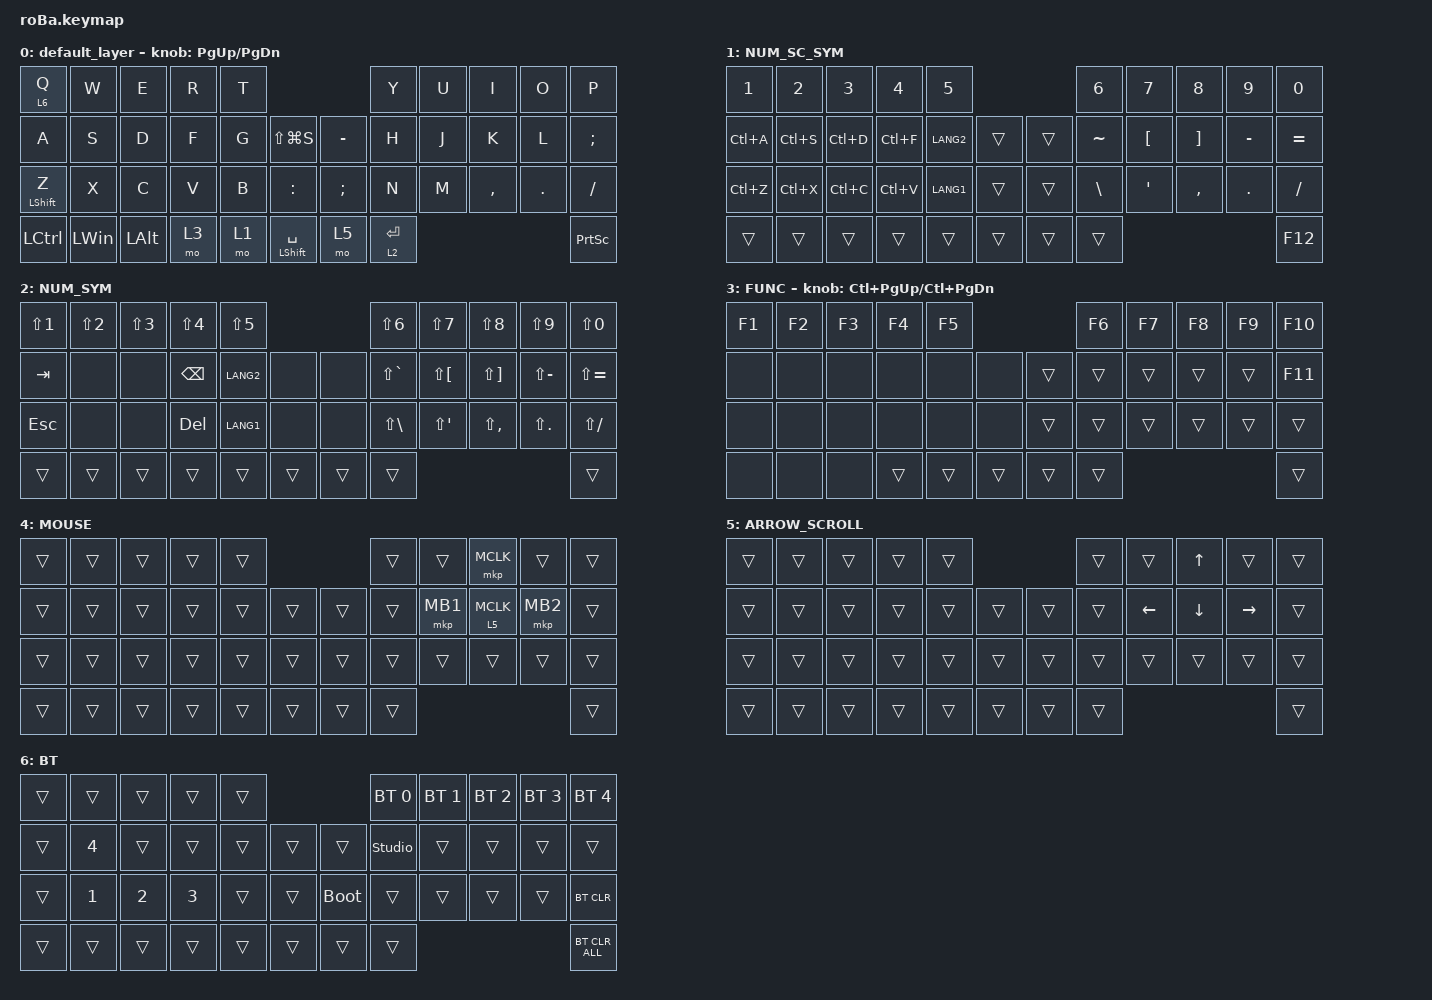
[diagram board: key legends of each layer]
#include <behaviors.dtsi>
#include <dt-bindings/zmk/bt.h>
#include <dt-bindings/zmk/keys.h>
#include <dt-bindings/zmk/pointing.h>

&mt {
    flavor = "balanced";
    quick-tap-ms = <0>;
    tapping-term-ms = <150>; // This is the value already set by default
};

/ {
    combos {
        compatible = "zmk,combos";

        tab {
            bindings = <&kp TAB>;
            key-positions = <11 12>;
        };

        shift_tab {
            bindings = <&kp LS(TAB)>;
            key-positions = <12 13>;
        };

        muhennkann {
            bindings = <&to_layer_0 INT_MUHENKAN>;
            key-positions = <11 10>;
        };

        double_quotation {
            bindings = <&kp DOUBLE_QUOTES>;
            key-positions = <20 21>;
        };

        eq {
            bindings = <&kp EQUAL>;
            key-positions = <24 25>;
        };
    };

    macros {
        to_layer_0: to_layer_0 {
            compatible = "zmk,behavior-macro-one-param";
            #binding-cells = <1>;
            bindings = <&to 0 &macro_param_1to1 &kp MACRO_PLACEHOLDER>;
            label = "TO_LAYER_0";
        };
    };

    behaviors {
        lt_to_layer_0: lt_to_layer_0 {
            compatible = "zmk,behavior-hold-tap";
            label = "LAYER_TAP_TO_0";
            bindings = <&mo>, <&to_layer_0>;

            #binding-cells = <2>;
            tapping-term-ms = <150>;
        };

        lay_mou: layer_mouse_tap {
            compatible = "zmk,behavior-hold-tap";
            label = "LAYER_MOUSE_TAP";
            #binding-cells = <2>;
            flavor = "tap-preferred";
            tapping-term-ms = <150>;
            bindings = <&mo>, <&mkp>;
        };
    };

    keymap {
        compatible = "zmk,keymap";

        default_layer {
            bindings = <
&lt 6 Q           &kp W         &kp E         &kp R  &kp T                                           &kp Y        &kp U  &kp I      &kp O    &kp P
&kp A             &kp S         &kp D         &kp F  &kp G  &kp LS(LG(S))             &kp MINUS      &kp H        &kp J  &kp K      &kp L    &kp SEMICOLON
&mt LEFT_SHIFT Z  &kp X         &kp C         &kp V  &kp B  &kp COLON                 &kp SEMICOLON  &kp N        &kp M  &kp COMMA  &kp DOT  &kp SLASH
&kp LCTRL         &kp LEFT_WIN  &kp LEFT_ALT  &mo 3  &mo 1  &mt LEFT_SHIFT SPACE      &mo 5          &lt 2 ENTER                             &kp PRINTSCREEN
            >;

            sensor-bindings = <&inc_dec_kp PG_UP PAGE_DOWN>;
        };

        NUM_SC_SYM {
            bindings = <
&kp NUMBER_1  &kp NUMBER_2  &kp NUMBER_3  &kp NUMBER_4  &kp NUMBER_5                      &kp NUMBER_6   &kp NUMBER_7      &kp NUMBER_8       &kp NUMBER_9  &kp NUMBER_0
&kp LC(A)     &kp LC(S)     &kp LC(D)     &kp LC(F)     &kp LANG2     &trans      &trans  &kp TILDE      &kp LEFT_BRACKET  &kp RIGHT_BRACKET  &kp MINUS     &kp EQUAL
&kp LC(Z)     &kp LC(X)     &kp LC(C)     &kp LC(V)     &kp LANG1     &trans      &trans  &kp BACKSLASH  &kp SQT           &kp COMMA          &kp PERIOD    &kp SLASH
&trans        &trans        &trans        &trans        &trans        &trans      &trans  &trans                                                            &kp F12
            >;
        };

        NUM_SYM {
            bindings = <
&kp LS(NUMBER_1)  &kp LS(NUMBER_2)  &kp LS(NUMBER_3)  &kp LS(NUMBER_4)  &kp LS(NUMBER_5)                      &kp LS(NUMBER_6)   &kp LS(NUMBER_7)      &kp LS(NUMBER_8)       &kp LS(NUMBER_9)  &kp LS(NUMBER_0)
&kp TAB           &none             &none             &kp BACKSPACE     &kp LANG2         &none       &none   &kp LS(GRAVE)      &kp LS(LEFT_BRACKET)  &kp LS(RIGHT_BRACKET)  &kp LS(MINUS)     &kp LS(EQUAL)
&kp ESC           &none             &none             &kp DELETE        &kp LANG1         &none       &none   &kp LS(BACKSLASH)  &kp LS(SQT)           &kp LS(COMMA)          &kp LS(PERIOD)    &kp LS(SLASH)
&trans            &trans            &trans            &trans            &trans            &trans      &trans  &trans                                                                            &trans
            >;
        };

        FUNC {
            bindings = <
&kp F1  &kp F2  &kp F3  &kp F4  &kp F5                      &kp F6  &kp F7  &kp F8  &kp F9  &kp F10
&none   &none   &none   &none   &none   &none       &trans  &trans  &trans  &trans  &trans  &kp F11
&none   &none   &none   &none   &none   &none       &trans  &trans  &trans  &trans  &trans  &trans
&none   &none   &none   &trans  &trans  &trans      &trans  &trans                          &trans
            >;

            sensor-bindings = <&inc_dec_kp LC(PAGE_UP) LC(PAGE_DOWN)>;
        };

        MOUSE {
            bindings = <
&trans  &trans  &trans  &trans  &trans                      &trans  &trans    &mkp MCLK        &trans    &trans
&trans  &trans  &trans  &trans  &trans  &trans      &trans  &trans  &mkp MB1  &lay_mou 5 MCLK  &mkp MB2  &trans
&trans  &trans  &trans  &trans  &trans  &trans      &trans  &trans  &trans    &trans           &trans    &trans
&trans  &trans  &trans  &trans  &trans  &trans      &trans  &trans                                       &trans
            >;
        };

        ARROW_SCROLL {
            bindings = <
&trans  &trans  &trans  &trans  &trans                      &trans  &trans          &kp UP_ARROW    &trans           &trans
&trans  &trans  &trans  &trans  &trans  &trans      &trans  &trans  &kp LEFT_ARROW  &kp DOWN_ARROW  &kp RIGHT_ARROW  &trans
&trans  &trans  &trans  &trans  &trans  &trans      &trans  &trans  &trans          &trans          &trans           &trans
&trans  &trans  &trans  &trans  &trans  &trans      &trans  &trans                                                   &trans
            >;
        };

        BT {
            bindings = <
&trans  &trans        &trans        &trans        &trans                           &bt BT_SEL 0    &bt BT_SEL 1  &bt BT_SEL 2  &bt BT_SEL 3  &bt BT_SEL 4
&trans  &kp NUMBER_4  &trans        &trans        &trans  &trans      &trans       &studio_unlock  &trans        &trans        &trans        &trans
&trans  &kp NUMBER_1  &kp NUMBER_2  &kp NUMBER_3  &trans  &trans      &bootloader  &trans          &trans        &trans        &trans        &bt BT_CLR
&trans  &trans        &trans        &trans        &trans  &trans      &trans       &trans                                                    &bt BT_CLR_ALL
            >;
        };
    };
};
